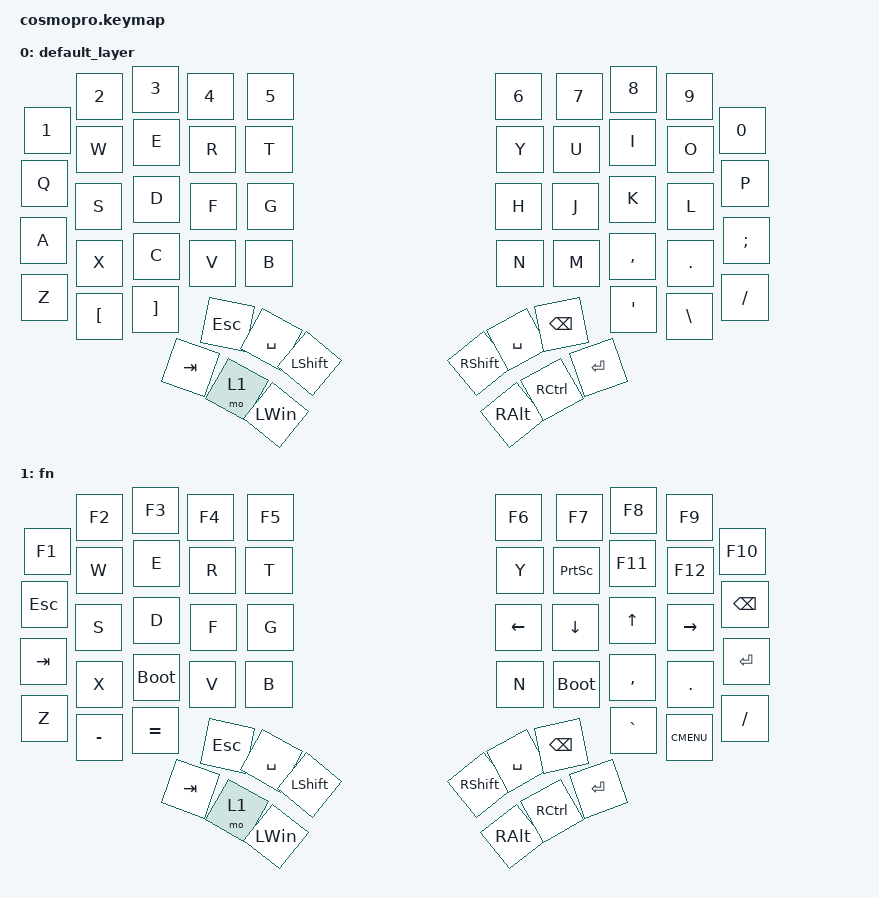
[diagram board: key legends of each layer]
#include <behaviors.dtsi>
#include <dt-bindings/zmk/keys.h>

/ {
    keymap {
        compatible = "zmk,keymap";

        default_layer {
            bindings = <
                &kp N1 &kp N2 &kp N3 &kp N4 &kp N5 &kp N6 &kp N7 &kp N8 &kp N9 &kp N0
                &kp Q &kp W &kp E &kp R &kp T &kp Y &kp U &kp I &kp O &kp P
                &kp A &kp S &kp D &kp F &kp G &kp H &kp J &kp K &kp L &kp SEMI
                &kp Z &kp X &kp C &kp V &kp B &kp N &kp M &kp COMMA &kp DOT &kp FSLH
                &kp LBKT &kp RBKT
                &kp APOS &kp BSLH
                &kp ESC &kp SPACE &kp LSHIFT
                &kp RSHIFT &kp SPACE &kp BSPC
                &kp TAB &mo 1 &kp LWIN
                &kp RALT &kp RCTRL &kp RET
            >;
        };

        fn {
            bindings = <
                &kp F1 &kp F2 &kp F3 &kp F4 &kp F5 &kp F6 &kp F7 &kp F8 &kp F9 &kp F10
                &kp ESC &kp W &kp E &kp R &kp T &kp Y &kp PSCRN &kp F11 &kp F12 &kp BSPC
                &kp TAB &kp S &kp D &kp F &kp G &kp LEFT &kp DOWN &kp UP &kp RIGHT &kp RET
                &kp Z &kp X &bootloader &kp V &kp B &kp N &bootloader &kp COMMA &kp DOT &kp FSLH
                &kp MINUS &kp EQUAL
                &kp GRAVE &kp K_CMENU
                &kp ESC &kp SPACE &kp LSHIFT
                &kp RSHIFT &kp SPACE &kp BSPC
                &kp TAB &mo 1 &kp LWIN
                &kp RALT &kp RCTRL &kp RET
            >;
        };

        extra2 {
            status = "reserved";
        };

        extra3 {
            status = "reserved";
        };
    };
};
